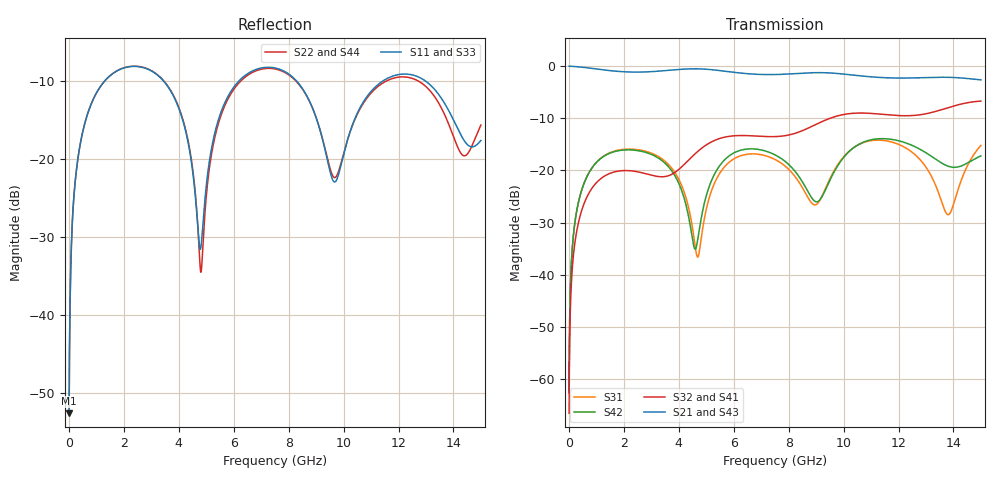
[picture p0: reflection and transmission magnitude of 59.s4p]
! Created with skrf 1.8.0 (http://scikit-rf.org).
# GHz S RI R 50.0
!freq ReS11 ImS11 ReS12 ImS12 ReS13 ImS13
! ReS14 ImS14
! ReS21 ImS21 ReS22 ImS22 ReS23 ImS23
! ReS24 ImS24
! ReS31 ImS31 ReS32 ImS32 ReS33 ImS33
! ReS34 ImS34
! ReS41 ImS41 ReS42 ImS42 ReS43 ImS43
! ReS44 ImS44
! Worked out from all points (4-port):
!   2499 points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, 5 MHz to 15 GHz, reference 50 ohm
!   strongest paths, dB at 5 MHz, 3.476 GHz, 7.19 GHz, 11.1 GHz, 15 GHz:
!     S21: 0.0, -0.9, -1.6, -2.1, -2.6
!     S43: 0.0, -0.9, -1.6, -2.1, -2.7
!     S32: -66.5, -21.2, -13.5, -9.1, -6.7
!     S41: -66.5, -21.3, -13.6, -9.2, -6.7
!     S42: -62.6, -18.5, -16.3, -14.0, -17.2
!     S31: -62.6, -18.1, -17.2, -14.2, -15.2
!   lowest |S11| = -52.6 dB at 5 MHz (marker M1), VSWR 1.00, Z = 50.2 + j0.142 ohm
!   |S11| at or under -10 dB: 3.437 GHz to 6.194 GHz (2.757 GHz wide, 57.2 % of centre); 8.283 GHz to 11.44 GHz (3.156 GHz wide, 32 % of centre); 12.97 GHz to end of sweep (the widest 3 of 4)
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0.005  0.00187 0.00142  0.9981 -0.00363  9.43e-05 0.000736  -9.16e-05 -0.000462
       0.9981 -0.00363  0.00187 0.00142  -9.16e-05 -0.000462  9.42e-05 0.000736
       9.43e-05 0.000736  -9.16e-05 -0.000462  0.00187 0.00142  0.9981 -0.00363
       -9.16e-05 -0.000462  9.42e-05 0.000736  0.9981 -0.00363  0.00187 0.00142
0.3126303  0.0299 0.0921  0.959 -0.2246  0.0141 0.0429  -0.0116 -0.0265
           0.959 -0.2246  0.03 0.0921  -0.0116 -0.0265  0.0137 0.043
           0.0141 0.0429  -0.0116 -0.0265  0.0299 0.0921  0.959 -0.2246
           -0.0116 -0.0265  0.0137 0.043  0.959 -0.2246  0.03 0.0921
1.419341  0.2825 0.1733  0.521 -0.7448  0.1343 0.0548  -0.0919 -0.0015
          0.521 -0.7448  0.2838 0.1723  -0.0921 -0.00133  0.1305 0.0603
          0.1343 0.0548  -0.0921 -0.00133  0.2825 0.1734  0.521 -0.7448
          -0.0919 -0.0015  0.1305 0.0603  0.521 -0.7448  0.284 0.1722
4.808253  0.0265 0.00734  -0.937 -0.0627  -0.00984 0.0192  -0.00749 0.1614
          -0.937 -0.0627  0.0188 0.000711  -0.00451 0.1615  0.0247 0.0233
          -0.00984 0.0192  -0.00451 0.1615  0.028 0.00635  -0.937 -0.0629
          -0.00749 0.1614  0.0247 0.0233  -0.937 -0.0629  0.0175 -0.000335
7.209254  0.3859 0.0156  -0.1106 0.8218  0.1205 -0.0654  0.2086 -0.0239
          -0.1106 0.8218  0.379 0.0234  0.2091 -0.0294  0.1261 -0.0848
          0.1205 -0.0654  0.2091 -0.0294  0.3847 0.0144  -0.11 0.8221
          0.2086 -0.0239  0.1261 -0.0848  -0.11 0.8221  0.379 0.0237
9.947895  0.0848 0.0485  0.84 -0.0456  0.0387 0.1242  -0.0308 -0.3399
          0.84 -0.0456  0.0889 0.0456  -0.0417 -0.339  0.0412 0.1211
          0.0387 0.1242  -0.0417 -0.339  0.0845 0.046  0.8399 -0.0469
          -0.0308 -0.3399  0.0412 0.1211  0.8399 -0.0469  0.0892 0.0464
15  0.1298 0.0189  -0.7348 0.066  0.1255 0.1199  0.0607 0.4569
    -0.7348 0.066  0.1422 0.0832  0.0838 0.4542  0.0118 0.1374
    0.1255 0.1199  0.0838 0.4542  0.1288 0.0207  -0.7334 0.0729
    0.0607 0.4569  0.0118 0.1374  -0.7334 0.0729  0.1422 0.0934
